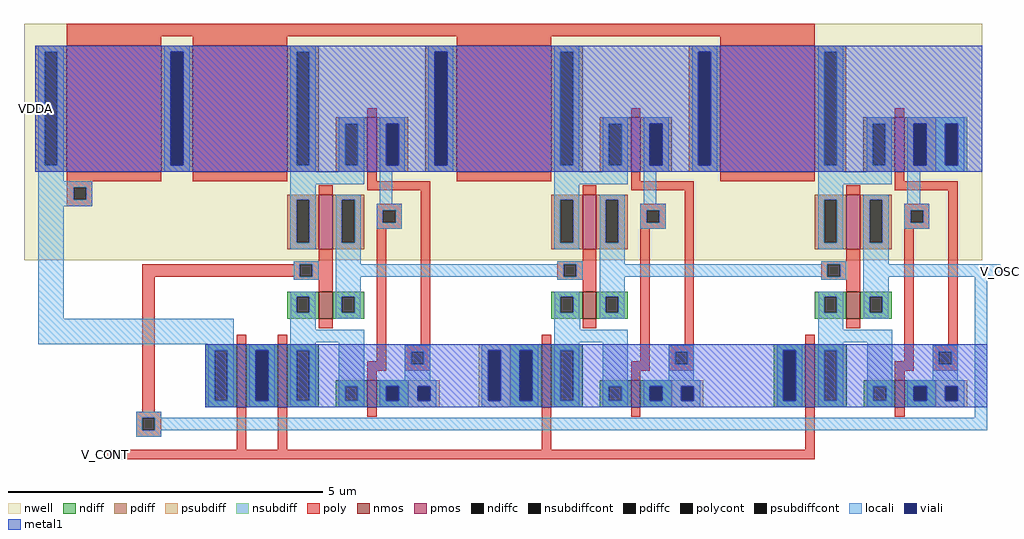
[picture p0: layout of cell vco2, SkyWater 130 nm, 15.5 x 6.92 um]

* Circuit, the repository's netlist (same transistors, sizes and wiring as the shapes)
* NGSPICE file created from vco2.ext - technology: sky130A

**.subckt vco2 VDDA V_OSC V_CONT
X0 VDDA a_n230_n290# a_738_212# VDDA sky130_fd_pr__pfet_01v8 ad=0.43 pd=2.72 as=0.43 ps=2.72 w=0.86 l=0.15
X1 V_OSC a_882_n10# a_1576_212# VDDA sky130_fd_pr__pfet_01v8 ad=0.43 pd=2.72 as=0.43 ps=2.72 w=0.86 l=0.22
X2 a_738_212# a_n900_458# VDDA VDDA sky130_fd_pr__pfet_01v8 ad=1 pd=5 as=1 ps=5 w=2 l=1.5
X3 a_44_n10# V_OSC a_n100_212# VDDA sky130_fd_pr__pfet_01v8 ad=0.43 pd=2.72 as=0.43 ps=2.72 w=0.86 l=0.22
X4 a_n100_212# a_n900_458# VDDA VDDA sky130_fd_pr__pfet_01v8 ad=1 pd=5 as=0.5 ps=2.5 w=2 l=1.5
X5 a_44_n10# V_OSC a_n100_n290# a_n230_n290# sky130_fd_pr__nfet_01v8 ad=0.215 pd=1.86 as=0.215 ps=1.86 w=0.43 l=0.22
X6 a_1576_n290# V_CONT a_n230_n290# a_n230_n290# sky130_fd_pr__nfet_01v8 ad=0.51 pd=3.02 as=0.5 ps=3 w=1 l=0.15
X7 a_n230_n290# V_CONT a_n900_458# a_n230_n290# sky130_fd_pr__nfet_01v8 ad=0.25 pd=1.5 as=0.5 ps=3 w=1 l=0.15
X8 a_n230_n290# VDDA a_738_n290# a_n230_n290# sky130_fd_pr__nfet_01v8 ad=0.215 pd=1.86 as=0.215 ps=1.86 w=0.43 l=0.15
X9 a_1576_212# a_n900_458# VDDA VDDA sky130_fd_pr__pfet_01v8 ad=1 pd=5 as=1 ps=5 w=2 l=1.5
X10 V_OSC a_882_n10# a_1576_n290# a_n230_n290# sky130_fd_pr__nfet_01v8 ad=0.215 pd=1.86 as=0.215 ps=1.86 w=0.43 l=0.22
X11 a_n230_n290# VDDA a_1576_n290# a_n230_n290# sky130_fd_pr__nfet_01v8 ad=0.2107 pd=1.84 as=0.2107 ps=1.84 w=0.43 l=0.16
X12 a_n100_n290# V_CONT a_n230_n290# a_n230_n290# sky130_fd_pr__nfet_01v8 ad=0.5 pd=3 as=0.25 ps=1.5 w=1 l=0.15
X13 VDDA a_n230_n290# a_1576_212# VDDA sky130_fd_pr__pfet_01v8 ad=0.43 pd=2.72 as=0.43 ps=2.72 w=0.86 l=0.15
X14 a_882_n10# a_44_n10# a_738_212# VDDA sky130_fd_pr__pfet_01v8 ad=0.43 pd=2.72 as=0.43 ps=2.72 w=0.86 l=0.22
X15 VDDA a_n230_n290# a_n100_212# VDDA sky130_fd_pr__pfet_01v8 ad=0.43 pd=2.72 as=0.43 ps=2.72 w=0.86 l=0.15
X16 a_882_n10# a_44_n10# a_738_n290# a_n230_n290# sky130_fd_pr__nfet_01v8 ad=0.215 pd=1.86 as=0.215 ps=1.86 w=0.43 l=0.22
X17 VDDA a_n900_458# a_n900_458# VDDA sky130_fd_pr__pfet_01v8 ad=0.5 pd=2.5 as=1 ps=5 w=2 l=1.5
X18 a_n230_n290# VDDA a_n100_n290# a_n230_n290# sky130_fd_pr__nfet_01v8 ad=0.215 pd=1.86 as=0.215 ps=1.86 w=0.43 l=0.15
X19 a_738_n290# V_CONT a_n230_n290# a_n230_n290# sky130_fd_pr__nfet_01v8 ad=0.5 pd=3 as=0.5 ps=3 w=1 l=0.15
.ends

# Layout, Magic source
magic
tech sky130A
<< nwell >>
rect -468 88 1054 464
<< nmos >>
rect 0 -5 22 38
rect -130 -145 -115 -45
rect -65 -145 -50 -45
rect 419 -5 441 38
rect 77 -145 92 -102
rect 354 -145 369 -45
rect 838 -5 860 38
rect 496 -145 511 -102
rect 773 -145 788 -45
rect 915 -145 931 -102
<< pmos >>
rect -400 229 -250 429
rect -200 229 -50 429
rect 77 229 92 315
rect 219 229 369 429
rect 496 229 511 315
rect 638 229 788 429
rect 915 229 930 315
rect 0 106 22 192
rect 419 106 441 192
rect 838 106 860 192
<< ndiff >>
rect -50 30 0 38
rect -50 5 -35 30
rect -15 5 0 30
rect -50 -5 0 5
rect 22 30 72 38
rect 22 5 37 30
rect 57 5 72 30
rect 22 -5 72 5
rect -180 -55 -130 -45
rect -180 -135 -165 -55
rect -145 -135 -130 -55
rect -180 -145 -130 -135
rect -115 -55 -65 -45
rect -115 -135 -100 -55
rect -80 -135 -65 -55
rect -115 -145 -65 -135
rect -50 -55 0 -45
rect -50 -135 -35 -55
rect -15 -135 0 -55
rect 369 30 419 38
rect 369 5 384 30
rect 404 5 419 30
rect 369 -5 419 5
rect 441 30 491 38
rect 441 5 456 30
rect 476 5 491 30
rect 441 -5 491 5
rect 304 -55 354 -45
rect -50 -145 0 -135
rect 27 -112 77 -102
rect 27 -135 42 -112
rect 62 -135 77 -112
rect 27 -145 77 -135
rect 92 -112 142 -102
rect 92 -135 107 -112
rect 127 -135 142 -112
rect 92 -145 142 -135
rect 304 -135 319 -55
rect 339 -135 354 -55
rect 304 -145 354 -135
rect 369 -55 419 -45
rect 369 -135 384 -55
rect 404 -135 419 -55
rect 788 30 838 38
rect 788 5 803 30
rect 823 5 838 30
rect 788 -5 838 5
rect 860 30 910 38
rect 860 5 875 30
rect 895 5 910 30
rect 860 -5 910 5
rect 723 -55 773 -45
rect 369 -145 419 -135
rect 446 -112 496 -102
rect 446 -135 461 -112
rect 481 -135 496 -112
rect 446 -145 496 -135
rect 511 -112 561 -102
rect 511 -135 526 -112
rect 546 -135 561 -112
rect 511 -145 561 -135
rect 723 -135 738 -55
rect 758 -135 773 -55
rect 723 -145 773 -135
rect 788 -55 839 -45
rect 788 -135 803 -55
rect 823 -135 839 -55
rect 788 -145 839 -135
rect 866 -112 915 -102
rect 866 -135 881 -112
rect 901 -135 915 -112
rect 866 -145 915 -135
rect 931 -112 980 -102
rect 931 -135 945 -112
rect 966 -135 980 -112
rect 931 -145 980 -135
<< pdiff >>
rect -450 419 -400 429
rect -450 239 -435 419
rect -415 239 -400 419
rect -450 229 -400 239
rect -250 419 -200 429
rect -250 239 -235 419
rect -215 239 -200 419
rect -250 229 -200 239
rect -50 419 0 429
rect -50 239 -35 419
rect -15 239 0 419
rect 169 419 219 429
rect -50 229 0 239
rect 27 305 77 315
rect 27 239 42 305
rect 62 239 77 305
rect 27 229 77 239
rect 92 305 142 315
rect 92 239 107 305
rect 127 239 142 305
rect 92 229 142 239
rect 169 239 184 419
rect 204 239 219 419
rect 169 229 219 239
rect 369 419 419 429
rect 369 239 384 419
rect 404 239 419 419
rect 588 419 638 429
rect 369 229 419 239
rect 446 305 496 315
rect 446 239 461 305
rect 481 239 496 305
rect 446 229 496 239
rect 511 305 561 315
rect 511 239 526 305
rect 546 239 561 305
rect 511 229 561 239
rect 588 239 603 419
rect 623 239 638 419
rect 588 229 638 239
rect 788 419 838 429
rect 788 239 803 419
rect 823 239 838 419
rect 788 229 838 239
rect 865 305 915 315
rect 865 239 880 305
rect 900 239 915 305
rect 865 229 915 239
rect 930 305 980 315
rect 930 239 945 305
rect 965 239 980 305
rect 930 229 980 239
rect -50 184 0 192
rect -50 116 -35 184
rect -15 116 0 184
rect -50 106 0 116
rect 22 184 72 192
rect 22 116 37 184
rect 57 116 72 184
rect 22 106 72 116
rect 369 184 419 192
rect 369 116 384 184
rect 404 116 419 184
rect 369 106 419 116
rect 441 184 491 192
rect 441 116 456 184
rect 476 116 491 184
rect 441 106 491 116
rect 788 184 838 192
rect 788 116 803 184
rect 823 116 838 184
rect 788 106 838 116
rect 860 184 910 192
rect 860 116 875 184
rect 895 116 910 184
rect 860 106 910 116
<< ndiffc >>
rect -35 5 -15 30
rect 37 5 57 30
rect -165 -135 -145 -55
rect -100 -135 -80 -55
rect -35 -135 -15 -55
rect 384 5 404 30
rect 456 5 476 30
rect 42 -135 62 -112
rect 107 -135 127 -112
rect 319 -135 339 -55
rect 384 -135 404 -55
rect 803 5 823 30
rect 875 5 895 30
rect 461 -135 481 -112
rect 526 -135 546 -112
rect 738 -135 758 -55
rect 803 -135 823 -55
rect 881 -135 901 -112
rect 945 -135 966 -112
<< pdiffc >>
rect -435 239 -415 419
rect -235 239 -215 419
rect -35 239 -15 419
rect 42 239 62 305
rect 107 239 127 305
rect 184 239 204 419
rect 384 239 404 419
rect 461 239 481 305
rect 526 239 546 305
rect 603 239 623 419
rect 803 239 823 419
rect 880 239 900 305
rect 945 239 965 305
rect -35 116 -15 184
rect 37 116 57 184
rect 384 116 404 184
rect 456 116 476 184
rect 803 116 823 184
rect 875 116 895 184
<< psubdiff >>
rect 254 -55 304 -45
rect 142 -112 192 -102
rect 142 -135 157 -112
rect 177 -135 192 -112
rect 142 -145 192 -135
rect 254 -135 269 -55
rect 289 -135 304 -55
rect 254 -145 304 -135
rect 561 -112 611 -102
rect 561 -135 576 -112
rect 596 -135 611 -112
rect 561 -145 611 -135
rect 980 -112 1030 -102
rect 980 -135 995 -112
rect 1015 -135 1030 -112
rect 980 -145 1030 -135
<< nsubdiff >>
rect 980 305 1030 315
rect 980 239 995 305
rect 1015 239 1030 305
rect 980 229 1030 239
<< psubdiffcont >>
rect 157 -135 177 -112
rect 269 -135 289 -55
rect 576 -135 596 -112
rect 995 -135 1015 -112
<< nsubdiffcont >>
rect 995 239 1015 305
<< poly >>
rect -400 444 788 464
rect -400 429 -250 444
rect -200 429 -50 444
rect 219 429 369 444
rect 638 429 788 444
rect 77 315 92 330
rect 496 315 511 330
rect 915 315 930 330
rect -400 214 -250 229
rect -200 214 -50 229
rect 77 214 92 229
rect 219 214 369 229
rect 496 214 511 229
rect 638 214 788 229
rect 915 214 930 229
rect -400 204 -360 214
rect -400 184 -389 204
rect -369 184 -360 204
rect 0 192 22 207
rect 77 199 177 214
rect -400 174 -360 184
rect 92 168 132 178
rect 92 148 102 168
rect 122 148 132 168
rect 92 138 132 148
rect 0 87 22 106
rect -40 82 22 87
rect -280 62 -30 82
rect -10 62 22 82
rect -280 -152 -260 62
rect -40 57 22 62
rect 0 38 22 57
rect 0 -20 22 -5
rect -130 -45 -115 -30
rect -65 -45 -50 -30
rect 92 -72 107 138
rect 162 -47 177 199
rect 419 192 441 207
rect 496 199 596 214
rect 511 168 551 178
rect 511 148 521 168
rect 541 148 551 168
rect 511 138 551 148
rect 419 87 441 106
rect 379 82 441 87
rect 379 62 389 82
rect 409 62 441 82
rect 379 57 441 62
rect 419 38 441 57
rect 419 -20 441 -5
rect 354 -45 369 -30
rect 77 -87 107 -72
rect 137 -57 177 -47
rect 137 -77 147 -57
rect 167 -77 177 -57
rect 137 -87 177 -77
rect 77 -102 92 -87
rect 511 -72 526 138
rect 581 -47 596 199
rect 838 192 860 207
rect 915 199 1015 214
rect 930 168 970 178
rect 930 148 940 168
rect 960 148 970 168
rect 930 138 970 148
rect 838 87 860 106
rect 798 82 860 87
rect 798 62 808 82
rect 828 62 860 82
rect 798 57 860 62
rect 838 38 860 57
rect 838 -20 860 -5
rect 773 -45 788 -30
rect 496 -87 526 -72
rect 556 -57 596 -47
rect 556 -77 566 -57
rect 586 -77 596 -57
rect 556 -87 596 -77
rect 496 -102 511 -87
rect 930 -72 945 138
rect 1000 -47 1015 199
rect 915 -87 945 -72
rect 975 -57 1015 -47
rect 975 -77 985 -57
rect 1005 -77 1015 -57
rect 975 -87 1015 -77
rect 915 -102 931 -87
rect -290 -162 -250 -152
rect -290 -182 -280 -162
rect -260 -182 -250 -162
rect -290 -192 -250 -182
rect -130 -213 -115 -145
rect -65 -213 -50 -145
rect 77 -160 92 -145
rect 354 -213 369 -145
rect 496 -160 511 -145
rect 773 -213 788 -145
rect 915 -160 931 -145
rect -339 -228 788 -213
<< polycont >>
rect -389 184 -369 204
rect 102 148 122 168
rect -30 62 -10 82
rect 521 148 541 168
rect 389 62 409 82
rect 147 -77 167 -57
rect 940 148 960 168
rect 808 62 828 82
rect 566 -77 586 -57
rect 985 -77 1005 -57
rect -280 -182 -260 -162
<< locali >>
rect -445 419 -405 429
rect -445 239 -435 419
rect -415 239 -405 419
rect -445 214 -405 239
rect -245 419 -205 429
rect -245 239 -235 419
rect -215 239 -205 419
rect -245 229 -205 239
rect -45 419 -5 429
rect -45 239 -35 419
rect -15 239 -5 419
rect 174 419 214 429
rect -45 229 -5 239
rect 32 305 72 315
rect 32 239 42 305
rect 62 239 72 305
rect 32 229 72 239
rect -445 204 -360 214
rect -445 184 -389 204
rect -369 184 -360 204
rect -445 174 -360 184
rect -45 209 72 229
rect 97 305 137 315
rect 97 239 107 305
rect 127 239 137 305
rect 97 229 137 239
rect 174 239 184 419
rect 204 239 214 419
rect 174 229 214 239
rect 374 419 414 429
rect 374 239 384 419
rect 404 239 414 419
rect 593 419 633 429
rect 374 229 414 239
rect 451 305 491 315
rect 451 239 461 305
rect 481 239 491 305
rect 451 229 491 239
rect -45 184 -5 209
rect -445 -5 -405 174
rect -45 116 -35 184
rect -15 116 -5 184
rect -45 106 -5 116
rect 27 184 67 192
rect 27 116 37 184
rect 57 116 67 184
rect 97 178 117 229
rect 374 209 491 229
rect 516 305 556 315
rect 516 239 526 305
rect 546 239 556 305
rect 516 229 556 239
rect 593 239 603 419
rect 623 239 633 419
rect 593 229 633 239
rect 793 419 833 429
rect 793 239 803 419
rect 823 239 833 419
rect 793 229 833 239
rect 870 305 910 315
rect 870 239 880 305
rect 900 239 910 305
rect 870 229 910 239
rect 374 184 414 209
rect 92 168 132 178
rect 92 148 102 168
rect 122 148 132 168
rect 92 138 132 148
rect -40 82 0 87
rect -40 62 -30 82
rect -10 62 0 82
rect -40 57 0 62
rect 27 82 67 116
rect 374 116 384 184
rect 404 116 414 184
rect 374 106 414 116
rect 446 184 486 192
rect 446 116 456 184
rect 476 116 486 184
rect 516 178 536 229
rect 793 209 910 229
rect 935 305 1025 315
rect 935 239 945 305
rect 965 239 995 305
rect 1015 239 1025 305
rect 935 229 1025 239
rect 793 184 833 209
rect 511 168 551 178
rect 511 148 521 168
rect 541 148 551 168
rect 511 138 551 148
rect 379 82 419 87
rect 27 62 389 82
rect 409 62 419 82
rect -45 30 -5 38
rect -45 5 -35 30
rect -15 5 -5 30
rect -445 -45 -135 -5
rect -45 -22 -5 5
rect 27 30 67 62
rect 379 57 419 62
rect 446 82 486 116
rect 793 116 803 184
rect 823 116 833 184
rect 793 106 833 116
rect 865 184 905 192
rect 865 116 875 184
rect 895 116 905 184
rect 935 178 955 229
rect 930 168 970 178
rect 930 148 940 168
rect 960 148 970 168
rect 930 138 970 148
rect 798 82 838 87
rect 446 62 808 82
rect 828 62 838 82
rect 27 5 37 30
rect 57 5 67 30
rect 27 -5 67 5
rect 374 30 414 38
rect 374 5 384 30
rect 404 5 414 30
rect 374 -5 414 5
rect 446 30 486 62
rect 798 57 838 62
rect 865 82 905 116
rect 865 62 1082 82
rect 446 5 456 30
rect 476 5 486 30
rect 446 -5 486 5
rect 793 30 833 38
rect 793 5 803 30
rect 823 5 833 30
rect 374 -22 415 -5
rect 793 -22 833 5
rect 865 30 905 62
rect 865 5 875 30
rect 895 5 905 30
rect 865 -5 905 5
rect -45 -42 72 -22
rect -175 -55 -135 -45
rect -175 -135 -165 -55
rect -145 -135 -135 -55
rect -175 -145 -135 -135
rect -110 -55 -70 -45
rect -110 -135 -100 -55
rect -80 -135 -70 -55
rect -110 -145 -70 -135
rect -45 -55 -5 -42
rect -45 -135 -35 -55
rect -15 -135 -5 -55
rect -45 -145 -5 -135
rect 32 -112 72 -42
rect 374 -42 491 -22
rect 137 -57 177 -47
rect 137 -77 147 -57
rect 167 -77 177 -57
rect 137 -102 177 -77
rect 259 -55 349 -45
rect 32 -135 42 -112
rect 62 -135 72 -112
rect 32 -145 72 -135
rect 97 -112 187 -102
rect 97 -135 107 -112
rect 127 -135 157 -112
rect 177 -135 187 -112
rect 97 -145 187 -135
rect 259 -135 269 -55
rect 289 -135 319 -55
rect 339 -135 349 -55
rect 259 -145 349 -135
rect 374 -55 414 -42
rect 374 -135 384 -55
rect 404 -135 414 -55
rect 374 -145 414 -135
rect 451 -112 491 -42
rect 793 -42 911 -22
rect 556 -57 596 -47
rect 556 -77 566 -57
rect 586 -77 596 -57
rect 556 -102 596 -77
rect 728 -55 768 -45
rect 451 -135 461 -112
rect 481 -135 491 -112
rect 451 -145 491 -135
rect 516 -112 606 -102
rect 516 -135 526 -112
rect 546 -135 576 -112
rect 596 -135 606 -112
rect 516 -145 606 -135
rect 728 -135 738 -55
rect 758 -135 768 -55
rect 728 -145 768 -135
rect 793 -55 833 -42
rect 793 -135 803 -55
rect 823 -135 833 -55
rect 793 -145 833 -135
rect 871 -112 911 -42
rect 975 -57 1015 -47
rect 975 -77 985 -57
rect 1005 -77 1015 -57
rect 975 -102 1015 -77
rect 871 -135 881 -112
rect 901 -135 911 -112
rect 871 -145 911 -135
rect 935 -112 1025 -102
rect 935 -135 945 -112
rect 966 -135 995 -112
rect 1015 -135 1025 -112
rect 935 -145 1025 -135
rect -290 -162 -250 -152
rect 1042 -162 1062 62
rect -290 -182 -280 -162
rect -260 -182 1062 -162
rect -290 -192 -250 -182
<< viali >>
rect -235 239 -215 419
rect 107 239 127 305
rect 184 239 204 419
rect 526 239 546 305
rect 603 239 623 419
rect 945 239 965 305
rect 995 239 1015 305
rect -100 -135 -80 -55
rect 107 -135 127 -112
rect 157 -135 177 -112
rect 269 -135 289 -55
rect 319 -135 339 -55
rect 526 -135 546 -112
rect 576 -135 596 -112
rect 738 -135 758 -55
rect 945 -135 966 -112
rect 995 -135 1015 -112
<< metal1 >>
rect -450 419 1054 429
rect -450 239 -235 419
rect -215 305 184 419
rect -215 239 107 305
rect 127 239 184 305
rect 204 305 603 419
rect 204 239 526 305
rect 546 239 603 305
rect 623 305 1054 419
rect 623 239 945 305
rect 965 239 995 305
rect 1015 239 1054 305
rect -450 229 1054 239
rect -180 -55 1062 -45
rect -180 -135 -100 -55
rect -80 -112 269 -55
rect -80 -135 107 -112
rect 127 -135 157 -112
rect 177 -135 269 -112
rect 289 -135 319 -55
rect 339 -112 738 -55
rect 339 -135 526 -112
rect 546 -135 576 -112
rect 596 -135 738 -112
rect 758 -112 1062 -55
rect 758 -135 945 -112
rect 966 -135 995 -112
rect 1015 -135 1062 -112
rect -180 -145 1062 -135
<< labels >>
flabel metal1 -450 329 -450 329 7 FreeSans 64 0 0 0 VDDA
port 1 w
flabel poly -339 -221 -339 -221 7 FreeSans 80 0 0 0 V_CONT
port 3 w
flabel locali 1082 71 1082 71 3 FreeSans 80 0 0 0 V_OSC
port 2 e
<< end >>
